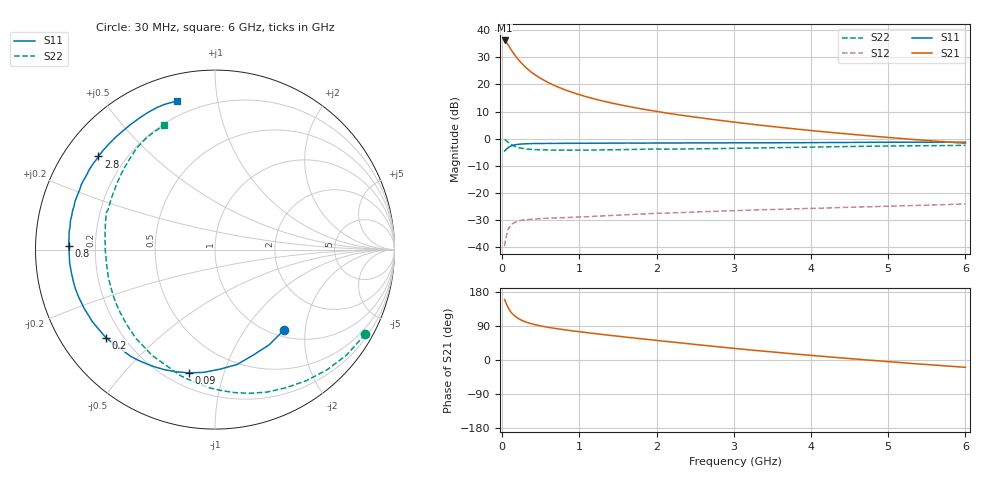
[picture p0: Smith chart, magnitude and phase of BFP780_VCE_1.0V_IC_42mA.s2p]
! Infineon Technologies  Discrete & RF Semiconductors
! BFP780
! VCE =  1.0 V,  IC =  42 mA
! Common Emitter S-Parameters:  Jul 2015
# GHz  S  MA  R  50
!  f  S11  S21  S12  S22
! GHz  MAG  ANG  MAG  ANG  MAG  ANG  MAG  ANG
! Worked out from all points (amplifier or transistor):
!   75 points, 30 MHz to 6 GHz, reference 50 ohm
!   highest |S21| = 36.3 dB at 30 MHz (marker M1)
!   |S21| within 3 dB of that: start of sweep to 105.1 MHz
!   unconditionally stable (mu >= 1): 2.082 GHz to end of sweep
!   at 150 MHz: K = 0.11, MSG = 31.3 dB, |S12| = -31.2 dB
!   at 2.3 GHz: K = 1.07, MAG = 16.4 dB, |S12| = -27.4 dB
!   at 6 GHz: K = 1.58, MAG = 6.7 dB, |S12| = -24.2 dB
!   S11 on the Smith chart (normalised r, x): 30 MHz: 1.13, -1.55; 90 MHz: 0.28, -0.77; 200 MHz: 0.14, -0.35; 800 MHz: 0.10, +0.01; 2.8 GHz: 0.10, +0.35; 6 GHz: 0.13, +0.77
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0.03  0.5902 -49.3  65.3 159.6  0.0102 71.5  0.9612 -29.4
0.05  0.6246 -69.8  61.18 149.4  0.0148 70.2  0.9155 -47.0
0.06  0.6519 -79.1  58.64 145.0  0.0171 61.7  0.8903 -55.1
0.07  0.6667 -87.6  55.82 140.6  0.0189 51.0  0.865 -62.9
0.09  0.7019 -101.9  50.11 133.1  0.0221 47.4  0.8244 -76.2
0.11  0.7257 -112.8  45.04 127.0  0.0247 40.9  0.7852 -87.7
0.14  0.7511 -125.1  38.83 120.1  0.027 34.7  0.7388 -101.4
0.2  0.7815 -140.9  29.75 110.4  0.0296 27.8  0.6858 -120.7
0.25  0.7925 -149.5  24.69 104.8  0.0309 23.4  0.6622 -131.9
0.3  0.7992 -155.9  20.94 100.6  0.0314 20.8  0.6443 -140.2
0.35  0.8043 -160.7  18.14 97.2  0.032 19.1  0.6339 -146.6
0.45  0.8091 -167.5  14.29 92.0  0.0326 17.1  0.6222 -155.9
0.6  0.8134 -174.7  10.78 86.1  0.0336 15.7  0.6141 -165.3
0.8  0.8159 178.5  8.096 79.9  0.0344 14.8  0.61 -173.6
1.1  0.8175 170.9  5.87 72.1  0.0358 15.0  0.6115 177.7
1.5  0.8218 162.9  4.284 62.8  0.0382 15.4  0.6215 169.5
2.1  0.8277 152.5  3.009 49.5  0.0415 14.4  0.6357 159.7
2.8  0.8316 141.4  2.19 34.8  0.0452 13.2  0.6524 148.8
3.1  0.8332 136.9  1.939 28.8  0.0467 12.5  0.6629 144.3
4.1  0.8413 123.1  1.364 10.5  0.0514 9.6  0.6978 132.0
5.1  0.8551 112.2  1.021 -5.9  0.0565 6.0  0.7292 121.5
6  0.8543 104.3  0.818 -19.3  0.0617 2.3  0.7483 112.3
